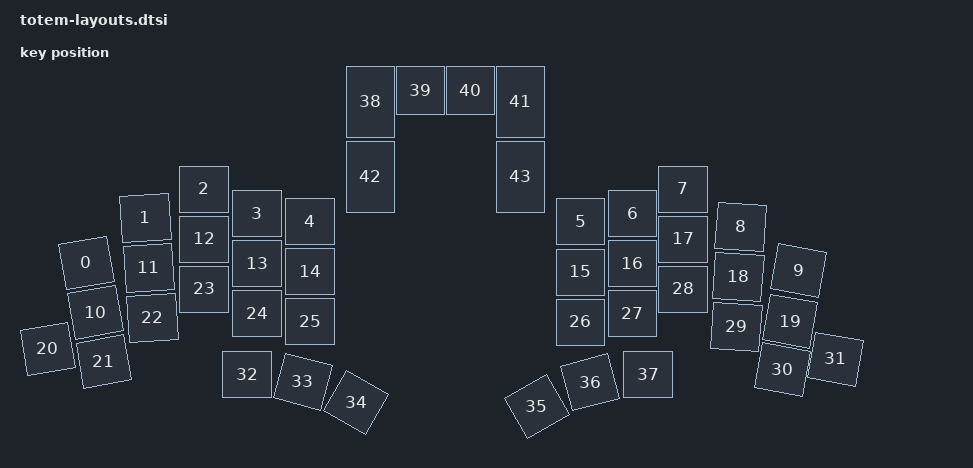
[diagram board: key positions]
#include <physical_layouts.dtsi>

/ {
    layout_0: layout_0 {
        compatible = "zmk,physical-layout";
        display-name = "TOTEM";

        transform = <&default_transform>;

        keys  //                     w   h    x    y     rot   rx   ry
            = <&key_physical_attrs 105 100   77  351 (-1000)   130   201>
            , <&key_physical_attrs 105 100  216  260  (-400)   249   110>
            , <&key_physical_attrs 105 100  347  200       0     0     0>
            , <&key_physical_attrs 105 100  453  249       0     0     0>
            , <&key_physical_attrs 105 100  559  265       0     0     0>
            , <&key_physical_attrs 105 100 1100  265       0     0     0>
            , <&key_physical_attrs 105 100 1204  249       0     0     0>
            , <&key_physical_attrs 105 100 1305  200       0     0     0>
            , <&key_physical_attrs 105 100 1435  260     400  1253   110>
            , <&key_physical_attrs 105 100 1570  322    1000  1372   202>
            , <&key_physical_attrs 105 100   95  450 (-1000)   147   300>
            , <&key_physical_attrs 105 100  223  360  (-400)   256   210>
            , <&key_physical_attrs 105 100  347  300       0     0     0>
            , <&key_physical_attrs 105 100  453  349       0     0     0>
            , <&key_physical_attrs 105 100  559  365       0     0     0>
            , <&key_physical_attrs 105 100 1100  366       0     0     0>
            , <&key_physical_attrs 105 100 1204  349       0     0     0>
            , <&key_physical_attrs 105 100 1305  300       0     0     0>
            , <&key_physical_attrs 105 100 1430  360     400  1246   210>
            , <&key_physical_attrs 105 100 1553  424    1000  1355   300>
            , <&key_physical_attrs 105 100    0  523 (-1000)    52   373>
            , <&key_physical_attrs 105 100  112  548 (-1000)   165   398>
            , <&key_physical_attrs 105 100  230  460  (-400)   263   310>
            , <&key_physical_attrs 105 100  347  400       0     0     0>
            , <&key_physical_attrs 105 100  453  449       0     0     0>
            , <&key_physical_attrs 105 100  559  465       0     0     0>
            , <&key_physical_attrs 105 100 1100  466       0     0     0>
            , <&key_physical_attrs 105 100 1204  449       0     0     0>
            , <&key_physical_attrs 105 100 1305  400       0     0     0>
            , <&key_physical_attrs 105 100 1426  460     400  1239   310>
            , <&key_physical_attrs 105 100 1537  520    1000  1338   399>
            , <&key_physical_attrs 105 100 1645  500    1000  1450   373>
            , <&key_physical_attrs 105 100  433  571       0     0     0>
            , <&key_physical_attrs 105 100  595  570    1500   563   437>
            , <&key_physical_attrs 105 100  745  585    3000   672   482>
            , <&key_physical_attrs 105 100  880  725 (-3000)   831   482>
            , <&key_physical_attrs 105 100 1060  640 (-1500)   939   437>
            , <&key_physical_attrs 105 100 1235  571       0     0     0>
            , <&key_physical_attrs 105 150  680    0       0     0     0>
            , <&key_physical_attrs 105 105  780    0       0     0     0>
            , <&key_physical_attrs 105 105  880    0       0     0     0>
            , <&key_physical_attrs 105 150  980    0       0     0     0>
            , <&key_physical_attrs 105 150  680  150       0     0     0>
            , <&key_physical_attrs 105 150  980  150       0     0     0>
            ;
    };

        position_map {
        compatible = "zmk,physical-layout-position-map";

        layout_0 {
            physical-layout = <&layout_0>;
            positions = <>;
        };
    };
};
